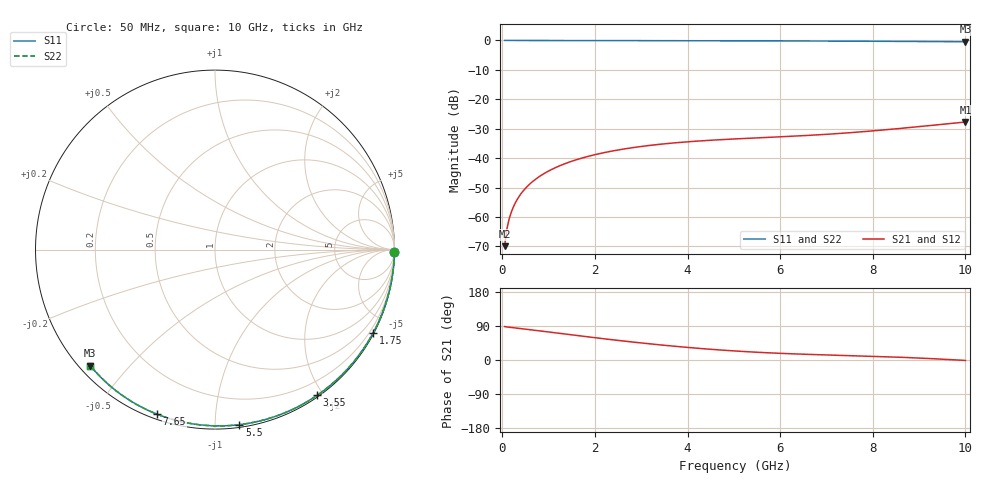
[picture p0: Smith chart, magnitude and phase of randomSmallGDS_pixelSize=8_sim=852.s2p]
! freq	dB(S11)	phase(S11)	dB(S12)	phase(S12)
!  dB(S21)	phase(S21)	dB(S22)	phase(S22)
!S-par simulation data
#  GHz  S  DB  R 50
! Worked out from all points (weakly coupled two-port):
!   200 points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, 50 MHz to 10 GHz, reference 50 ohm
!   highest |S21| = -27.72 dB at 10 GHz (marker M1); lowest = -69.9 dB at 50 MHz (marker M2)
!   lowest |S11| = -0.5 dB at 10 GHz (marker M3), VSWR 38.17, Z = 1.51 - j19.6 ohm
!   |S11| at or under -10 dB: nowhere
!   |S22| runs from -0.5 to 0.0 dB; largest |S21 - S12| = 0
!   S11 on the Smith chart (normalised r, x): 50 MHz: open; 1.75 GHz: 0.04, -4.04; 3.55 GHz: 0.02, -1.92; 5.5 GHz: 0.02, -1.15; 7.65 GHz: 0.02, -0.71; 10 GHz: 0.03, -0.39
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0.05  -0.00 -0.8  -69.91 88.3  -69.91 88.3  -0.00 -0.8
0.1  -0.00 -1.6  -63.99 87.2  -63.99 87.2  -0.00 -1.6
0.15  -0.00 -2.4  -60.54 86.4  -60.54 86.4  -0.00 -2.4
0.2  -0.00 -3.2  -58.10 85.7  -58.10 85.7  -0.00 -3.2
0.25  -0.00 -4.0  -56.19 85.0  -56.19 85.0  -0.00 -4.0
0.35  -0.00 -5.7  -53.31 83.6  -53.31 83.6  -0.00 -5.7
0.5  -0.01 -8.1  -50.25 81.4  -50.25 81.4  -0.01 -8.1
0.7  -0.01 -11.3  -47.38 78.4  -47.38 78.4  -0.01 -11.3
1  -0.02 -16.0  -44.37 73.8  -44.37 73.8  -0.02 -16.0
1.35  -0.03 -21.5  -41.89 68.5  -41.89 68.5  -0.03 -21.5
1.75  -0.04 -27.8  -39.83 62.4  -39.83 62.4  -0.04 -27.8
2.5  -0.05 -39.3  -37.21 51.7  -37.21 51.7  -0.05 -39.3
3.4  -0.07 -52.8  -35.29 40.0  -35.29 40.0  -0.07 -52.8
3.55  -0.07 -55.0  -35.05 38.2  -35.05 38.2  -0.07 -55.0
4.3  -0.09 -65.7  -34.11 30.2  -34.11 30.2  -0.09 -65.7
5.05  -0.12 -76.1  -33.44 23.6  -33.44 23.6  -0.12 -76.1
5.5  -0.13 -82.1  -33.10 20.4  -33.10 20.4  -0.13 -82.1
6.7  -0.19 -97.6  -32.18 14.5  -32.18 14.5  -0.19 -97.6
7.65  -0.25 -109.4  -31.18 11.1  -31.18 11.1  -0.25 -109.4
8.35  -0.30 -117.8  -30.25 8.4  -30.25 8.4  -0.30 -117.8
9.2  -0.37 -127.8  -28.97 4.0  -28.97 4.0  -0.37 -127.8
10  -0.46 -137.1  -27.72 -1.2  -27.72 -1.2  -0.46 -137.1
